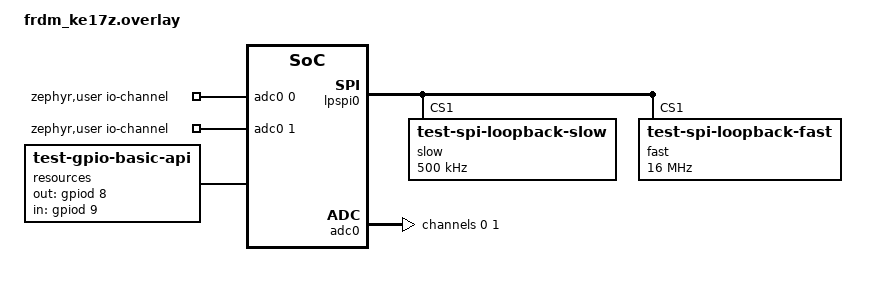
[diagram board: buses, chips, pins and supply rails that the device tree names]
/*
 * Copyright 2024 NXP
 *
 * SPDX-License-Identifier: Apache-2.0
 */

/* To test this sample, connect
 * LPSPI0 SIN(J2-10)  -->  LPSPI0 SOUT(J2-8)
 */

&lpspi0 {
	slow@1 {
		compatible = "test-spi-loopback-slow";
		reg = <1>;
		spi-max-frequency = <500000>;
	};

	fast@1 {
		compatible = "test-spi-loopback-fast";
		reg = <1>;
		spi-max-frequency = <16000000>;
	};
};

/ {
	zephyr,user {
		io-channels = <&adc0 0>, <&adc0 1>;
	};
};

&adc0 {
	#address-cells = <1>;
	#size-cells = <0>;
	channel@0 {
		reg = <0>;
		zephyr,gain = "ADC_GAIN_1";
		zephyr,reference = "ADC_REF_INTERNAL";
		zephyr,acquisition-time = <ADC_ACQ_TIME_DEFAULT>;
		zephyr,resolution = <12>;
	};
	channel@1 {
		reg = <1>;
		zephyr,gain = "ADC_GAIN_1";
		zephyr,reference = "ADC_REF_INTERNAL";
		zephyr,acquisition-time = <ADC_ACQ_TIME_DEFAULT>;
		zephyr,resolution = <12>;
	};
};

/ {
	resources {
		compatible = "test-gpio-basic-api";
		out-gpios = <&gpiod 8 0>;
		in-gpios = <&gpiod 9 0>;
	};
};
